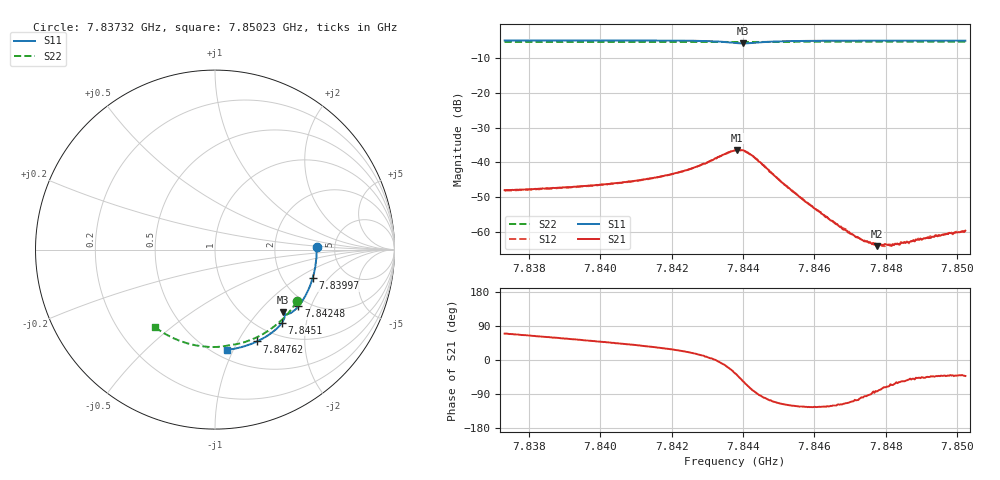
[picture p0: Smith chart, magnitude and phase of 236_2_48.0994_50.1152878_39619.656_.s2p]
#  HZ  S  RI  R  50.00
! Rohde & Schwarz Vector Network Analyzer
! Rohde-Schwarz,ZNB20-2Port,1311601062101988,3.16
! Created: UTC 12/23/2023, 3:58:17 AM
! freq[Hz]  re:S11  im:S11  re:S21  im:S21  re:S12  im:S12  re:S22  im:S22
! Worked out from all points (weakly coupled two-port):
!   401 points, 7.83732 GHz to 7.85023 GHz, reference 50 ohm
!   highest |S21| = -36.38 dB at 7.84384 GHz (marker M1); lowest = -64.1 dB at 7.84774 GHz (marker M2)
!   lowest |S11| = -5.8 dB at 7.844 GHz (marker M3), VSWR 3.12, Z = 72.2 - j68.7 ohm
!   |S11| at or under -10 dB: nowhere
!   |S22| runs from -5.4 to -5.3 dB; largest |S21 - S12| = 0.00038
!   S11 on the Smith chart (normalised r, x): 7.83732 GHz: 3.60, +0.16; 7.83997 GHz: 2.91, -1.37; 7.84248 GHz: 1.77, -1.64; 7.8451 GHz: 1.25, -1.46; 7.84762 GHz: 0.81, -1.21; 7.85023 GHz: 0.58, -0.94
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7.837319e9  0.5661 0.0147  0.00139 0.00375  0.0014 0.00368  0.4557 -0.289
7.839482e9  0.5523 -0.1283  0.00274 0.00363  0.00275 0.00357  0.3585 -0.4046
7.839966e9  0.5439 -0.1599  0.00314 0.00357  0.00311 0.00358  0.3323 -0.4264
7.840902e9  0.5222 -0.2196  0.00412 0.00347  0.00404 0.00346  0.2784 -0.4637
7.841644e9  0.4992 -0.2658  0.00521 0.00332  0.00519 0.00334  0.2326 -0.4887
7.842484e9  0.4648 -0.3159  0.00746 0.00276  0.00742 0.00275  0.1782 -0.5113
7.84329e9  0.4159 -0.3561  0.0119 -0.000672  0.0118 -0.000621  0.1233 -0.5262
7.843775e9  0.3816 -0.3565  0.0122 -0.00857  0.0123 -0.00843  0.0909 -0.5313
7.843839e9  0.3792 -0.3544  0.0115 -0.00987  0.0114 -0.00969  0.0867 -0.532
7.844001e9  0.3783 -0.3494  0.00831 -0.0124  0.00848 -0.0121  0.0766 -0.5336
7.844291e9  0.3863 -0.3533  0.00185 -0.0121  0.0019 -0.012  0.0582 -0.537
7.845098e9  0.3735 -0.4067  -0.00225 -0.00459  -0.00221 -0.00465  0.00179 -0.5426
7.845937e9  0.3318 -0.4508  -0.00131 -0.00191  -0.00133 -0.00194  -0.0576 -0.5405
7.846744e9  0.2861 -0.4836  -0.00053 -0.00104  -0.000542 -0.00107  -0.1134 -0.5321
7.847131e9  0.2634 -0.4969  -0.000227 -0.000839  -0.000248 -0.000852  -0.1401 -0.526
7.847616e9  0.2341 -0.5117  3.09e-05 -0.000664  1.87e-05 -0.000705  -0.1727 -0.5167
7.847745e9  0.2262 -0.5153  7.47e-05 -0.000622  6.43e-05 -0.00066  -0.1813 -0.5137
7.847938e9  0.2143 -0.5205  0.000199 -0.000622  0.000181 -0.000599  -0.1941 -0.5091
7.8481e9  0.2043 -0.5246  0.000234 -0.000598  0.000262 -0.000605  -0.2046 -0.505
7.848326e9  0.19 -0.53  0.000327 -0.000592  0.000352 -0.000585  -0.2192 -0.499
7.849262e9  0.1301 -0.5476  0.000601 -0.00056  0.000618 -0.000613  -0.278 -0.4696
7.85023e9  0.0666 -0.5586  0.000773 -0.000701  0.000764 -0.000712  -0.3343 -0.4319
